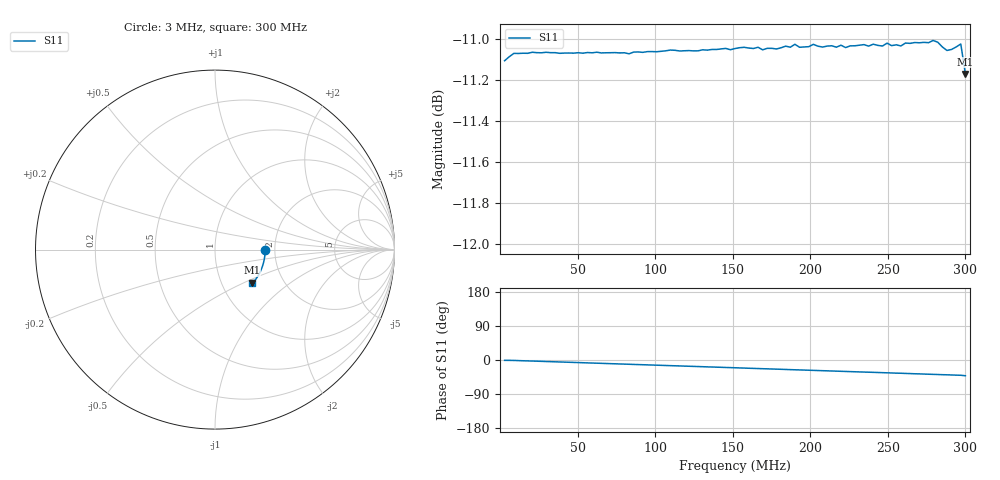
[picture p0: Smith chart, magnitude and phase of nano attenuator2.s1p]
! File created by NanoVNA (https://gen111.taobao.com/)
! Start 3000000Hz  Stop 300000000Hz  Points 101
# HZ S MA R 50
!S - Parameter data, F S11
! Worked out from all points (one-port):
!   101 points, 3 MHz to 300 MHz, reference 50 ohm
!   lowest |S11| = -11.2 dB at 300 MHz (marker M1), VSWR 1.76, Z = 69.7 - j27.7 ohm
!   |S11| at or under -10 dB: start of sweep to end of sweep
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3000000  0.2784 -0.9
5970000  0.279 -0.9
8940000  0.2795 -1.2
4.161e7  0.2796 -5.6
7.725e7  0.2796 -10.5
1.1586e8  0.2799 -15.7
1.515e8  0.2803 -20.5
1.7823e8  0.2802 -24.1
1.8417e8  0.2807 -24.9
1.8714e8  0.2805 -25.4
1.9011e8  0.281 -25.8
1.9308e8  0.2805 -26.2
2.0199e8  0.2809 -27.4
2.0793e8  0.2805 -28.2
2.2575e8  0.2807 -30.6
2.406e8  0.281 -32.6
2.4654e8  0.2807 -33.4
2.4951e8  0.2811 -33.8
2.5248e8  0.2807 -34.2
2.5545e8  0.2809 -34.7
2.5842e8  0.2807 -34.9
2.6436e8  0.2811 -35.8
2.7624e8  0.2812 -37.5
2.7921e8  0.2816 -37.9
2.8812e8  0.28 -39.0
2.9406e8  0.2805 -40.0
2.9703e8  0.281 -40.3
3e8  0.2763 -41.6
